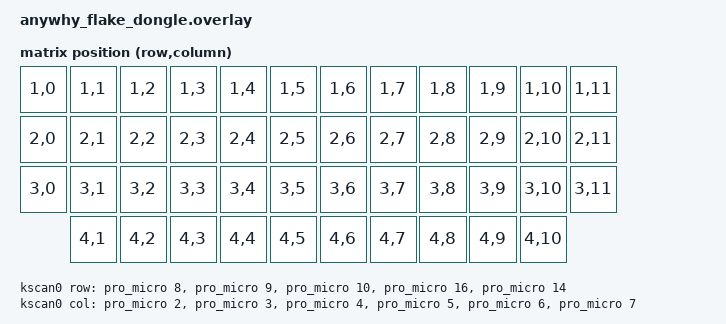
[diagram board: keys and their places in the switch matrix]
#include <dt-bindings/zmk/matrix_transform.h>
#include "anywhy_flake.dtsi"

/ {
    chosen {
        zephyr,display = &oled;
        zmk,kscan = &mock_kscan;
        zmk,physical-layout = &medium_layout;
    };

    mock_kscan: mock_kscan_0 {
        compatible = "zmk,kscan-mock";
        columns = <0>;
        rows = <0>;
        events = <0>;
    };

    medium_transform: medium_transform {
        compatible = "zmk,matrix-transform";
        columns = <12>;
        rows = <4>;
        map = <
RC(1,0) RC(1,1) RC(1,2) RC(1,3) RC(1,4) RC(1,5)  RC(1,6) RC(1,7) RC(1,8) RC(1,9) RC(1,10) RC(1,11)
RC(2,0) RC(2,1) RC(2,2) RC(2,3) RC(2,4) RC(2,5)  RC(2,6) RC(2,7) RC(2,8) RC(2,9) RC(2,10) RC(2,11)
RC(3,0) RC(3,1) RC(3,2) RC(3,3) RC(3,4) RC(3,5)  RC(3,6) RC(3,7) RC(3,8) RC(3,9) RC(3,10) RC(3,11)
        RC(4,1) RC(4,2) RC(4,3) RC(4,4) RC(4,5)  RC(4,6) RC(4,7) RC(4,8) RC(4,9) RC(4,10)
        >;
    };
};

&kscan0 {
    col-gpios
        = <&pro_micro 2 GPIO_ACTIVE_HIGH>
        , <&pro_micro 3 GPIO_ACTIVE_HIGH>
        , <&pro_micro 4 GPIO_ACTIVE_HIGH>
        , <&pro_micro 5 GPIO_ACTIVE_HIGH>
        , <&pro_micro 6 GPIO_ACTIVE_HIGH>
        , <&pro_micro 7 GPIO_ACTIVE_HIGH>
        ;

    row-gpios
        = <&pro_micro 8  (GPIO_ACTIVE_HIGH | GPIO_PULL_DOWN)>
        , <&pro_micro 9  (GPIO_ACTIVE_HIGH | GPIO_PULL_DOWN)>
        , <&pro_micro 10 (GPIO_ACTIVE_HIGH | GPIO_PULL_DOWN)>
        , <&pro_micro 16 (GPIO_ACTIVE_HIGH | GPIO_PULL_DOWN)>
        , <&pro_micro 14 (GPIO_ACTIVE_HIGH | GPIO_PULL_DOWN)>
        ;
};

&pro_micro_i2c {
    status = "okay";
    oled: sh1106@3c {
        compatible = "sinowealth,sh1106";
        reg = <0x3c>;
        width = <129>;
        height = <64>;
        segment-offset = <2>;
        page-offset = <0>;
        display-offset = <0>;
        multiplex-ratio = <63>;
        segment-remap;
        com-invdir;
        inversion-on;
        prechargep = <0x22>;
        };
};
